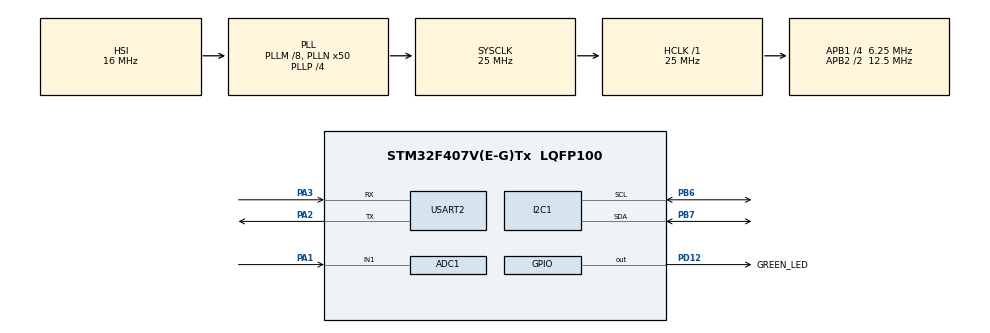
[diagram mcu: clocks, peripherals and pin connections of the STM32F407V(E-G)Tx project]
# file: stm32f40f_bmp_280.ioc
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ADC1.Channel-0\#ChannelRegularConversion=ADC_CHANNEL_1
ADC1.NbrOfConversionFlag=1
ADC1.Rank-0\#ChannelRegularConversion=1
ADC1.SamplingTime-0\#ChannelRegularConversion=ADC_SAMPLETIME_3CYCLES
ADC1.master=1
Mcu.Family=STM32F4
Mcu.Name=STM32F407V(E-G)Tx
Mcu.Package=LQFP100
NVIC.PriorityGroup=NVIC_PRIORITYGROUP_0
NVIC.USART2_IRQn=true\:0\:0\:false\:false\:true\:true\:true\:true
PA1.Signal=ADCx_IN1
PA2.Mode=Asynchronous
PA2.Signal=USART2_TX
PA3.Mode=Asynchronous
PA3.Signal=USART2_RX
PB6.Mode=I2C
PB6.Signal=I2C1_SCL
PB7.Mode=I2C
PB7.Signal=I2C1_SDA
PD12.GPIO_Label=GREEN_LED
PD12.Signal=GPIO_Output
ProjectManager.HeapSize=0x200
ProjectManager.StackSize=0x400
ProjectManager.TargetToolchain=STM32CubeIDE
RCC.48MHZClocksFreq_Value=14285714.285714285
RCC.AHBFreq_Value=25000000
RCC.APB1CLKDivider=RCC_HCLK_DIV4
RCC.APB1Freq_Value=6250000
RCC.APB1TimFreq_Value=12500000
RCC.APB2CLKDivider=RCC_HCLK_DIV2
RCC.APB2Freq_Value=12500000
RCC.APB2TimFreq_Value=25000000
RCC.CortexFreq_Value=25000000
RCC.HCLKFreq_Value=25000000
RCC.HSE_VALUE=8000000
RCC.HSI_VALUE=16000000
RCC.LSE_VALUE=32768
RCC.PLLM=8
RCC.PLLN=50
RCC.PLLP=RCC_PLLP_DIV4
RCC.PLLQ=7
RCC.SYSCLKFreq_VALUE=25000000
RCC.SYSCLKSource=RCC_SYSCLKSOURCE_PLLCLK
RCC.VCOOutputFreq_Value=100000000
SH.ADCx_IN1.0=ADC1_IN1,IN1
USART2.VirtualMode=VM_ASYNC
board=STM32F407G-DISC1

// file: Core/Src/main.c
/* USER CODE BEGIN Header */
/**
  ******************************************************************************
  * @file           : main.c
  * @brief          : Main program body
  ******************************************************************************
  * @attention
  *
  * Copyright (c) 2026 STMicroelectronics.
  * All rights reserved.
  *
  * This software is licensed under terms that can be found in the LICENSE file
  * in the root directory of this software component.
  * If no LICENSE file comes with this software, it is provided AS-IS.
  *
  ******************************************************************************
  */
/* USER CODE END Header */
#include "main.h"
#include "adc.h"
#include "i2c.h"
#include "usart.h"
#include "gpio.h"
#include "bmp280.h"

/* USER CODE BEGIN Includes */

#include<stdio.h>
#include<string.h>
#include<stdbool.h>

/* USER CODE END Includes */

/* USER CODE BEGIN PD */

typedef enum
{
	SENSOR_INIT,
	SENSOR_MEASURE,
}Status_t;

/* USER CODE END PD */

void SystemClock_Config(void);

/* USER CODE BEGIN 0 */

void uart_send(char* text)
{
	HAL_UART_Transmit(&huart2, (uint8_t* )text, strlen(text), HAL_MAX_DELAY);
}

void intToCharFix(int32_t value, char *response, uint8_t buffer_size)
{
	char merge[15];

	char sign = (value < 0) ? '-' : ' ';

	uint32_t u_value = (value < 0) ? -value : value;

	uint32_t u_value_int = (u_value / 100);
	uint32_t u_value_dec = (u_value % 100);

	snprintf(merge, sizeof(merge), "%c%lu.%02lu", sign, u_value_int, u_value_dec);

	snprintf(response, buffer_size, "%s", merge);
}

void uintToCharFix(uint32_t value, char *response, uint8_t buffer_size)
{
	char convert[15];

	uint32_t u_value_int = (value / 100);
	uint32_t u_value_dec = (value % 100);

	snprintf(convert, sizeof(convert), "%lu.%02lu", u_value_int, u_value_dec);

	snprintf(response, buffer_size, "%s", convert);
}

/* USER CODE END 0 */

int main(void)
{

  /* MCU Configuration--------------------------------------------------------*/

  /* Reset of all peripherals, Initializes the Flash interface and the Systick. */
  HAL_Init();

  /* Configure the system clock */
  SystemClock_Config();

  /* Initialize all configured peripherals */
  MX_GPIO_Init();
  MX_ADC1_Init();
  MX_I2C1_Init();
  MX_USART2_UART_Init();
  /* USER CODE BEGIN 2 */

  char boot_msg[] = "/----BOOT_OK----/\r\n";
  char boot_msg_head[] = "\r\n\r\n/---------------/\r\n";
  uart_send(boot_msg_head);
  uart_send(boot_msg);

  /*
  int32_t temp;
  int32_t temp_f;
  uint32_t press;
  uint32_t press_f;

  BMP280_Init(&BMP280, &hi2c1, 0x76U);

  fastTemp(&BMP280, &temp);
  fastPress(&BMP280, &press);
  fastMeasure(&BMP280, &temp_f, &press_f);

  char temp_char_f[15];

  char press_char_f[10];

  intToCharFix(temp, temp_char, sizeof(temp_char));
  intToCharFix(temp_f, temp_char_f, sizeof(temp_char_f));

  uintToCharFix(press, press_char, sizeof(press_char));
  uintToCharFix(press_f, press_char_f, sizeof(press_char_f));

  char response_s[150];
  char response_f[150];

  snprintf(response_s, sizeof(response_s), "TEMPERATURE:%7sDegC\r\nPRESSURE:%10shPa\r\n", temp_char, press_char);
  snprintf(response_f, sizeof(response_f), "TEMPERATURE_F:%7sDegC\r\nPRESSURE_F:%10shPa\r\n", temp_char_f, press_char_f);

  uart_send(response_s);
  uart_send(response_f);*/

  BMP280_t BMP280 = {0};

  int32_t temp_s;
  uint32_t press_s;

  char temp_char[15];
  char press_char[10];

  Status_t status = SENSOR_INIT;
  BMP280_Init_Status_t init_status;
  BMP280_Measure_Status_t measure_status;

  uint32_t last_time = 0U;

  uint16_t error_code_init = 0x0000;
  uint16_t error_code_measure = 0x0000;

  char response[150];

  uint32_t init_count = 0U;

  uint32_t ok_count = 0U;
  uint32_t error_count = 0U;

  /* USER CODE END 2 */

  /* Infinite loop */
  while (1)
  {

    /* USER CODE BEGIN 3 */

	  if((HAL_GetTick() - last_time) >= 1000U)
	  /*if(1)*/
	  {
		  last_time = HAL_GetTick();

		  if(status == SENSOR_INIT)
		  {
			  init_status = BMP280_Init(&BMP280, &hi2c1, 0x76U);
			  init_count++;

			  if(init_status == INIT_OK)
			  {
				  status = SENSOR_MEASURE;
				  uart_send("--------------------\r\n");
				  uart_send("BMP280_INIT_OK\r\n");
				  error_code_init = 0x00A1;
				  ok_count ++;
			  }
			  else
			  {
				  uint16_t error = ((uint16_t)(init_status) << 8U) | ((uint16_t)(BMP280.Error));

				  if(error_code_init != error)
				  {
					  error_code_init = error;
					  snprintf(response, sizeof(response), "INIT_ERROR_CODE: %X\r\n", error_code_init);
					  uart_send("--------------------\r\n");
					  uart_send(response);
				  }

				  error_count ++;
				  status = SENSOR_INIT;
			  }

			  char try[150];
			  snprintf(try, sizeof(try), "init_count: %lu\r\nok_count: %lu\r\nerror_count: %lu\r\n",init_count, ok_count, error_count);
			  uart_send("--------------------\r\n");
			  uart_send(try);
		  }

		  if(status == SENSOR_MEASURE)
		  {
			  measure_status = fastMeasure(&BMP280, &temp_s, &press_s);

			  if(measure_status == MEASURE_OK)
			  {
				  intToCharFix(temp_s, temp_char, sizeof(temp_char));
				  uintToCharFix(press_s, press_char, sizeof(press_char));
				  snprintf(response, sizeof(response), "TEMPERATURE:%7sDegC\r\nPRESSURE:%10shPa\r\n", temp_char, press_char);
				  uart_send("--------------------\r\n");
				  uart_send(response);
				  error_code_measure = 0x001A;
				  status = SENSOR_MEASURE;
			  }
			  else
			  {
				  uint16_t error = ((uint16_t)(measure_status) << 8U) | ((uint16_t)(BMP280.Error));

				  if(error_code_measure != error)
				  {
					  error_code_measure = error;
					  snprintf(response, sizeof(response), "MEASURE_ERROR_CODE: %X\r\n", error_code_measure);
					  uart_send("--------------------\r\n");
					  uart_send(response);
				  }

				  status = SENSOR_INIT;
			  }
		  }
	  }

  }
  /* USER CODE END 3 */
}

void SystemClock_Config(void)
{
  RCC_OscInitTypeDef RCC_OscInitStruct = {0};
  RCC_ClkInitTypeDef RCC_ClkInitStruct = {0};

  /** Configure the main internal regulator output voltage
  */
  __HAL_RCC_PWR_CLK_ENABLE();
  __HAL_PWR_VOLTAGESCALING_CONFIG(PWR_REGULATOR_VOLTAGE_SCALE1);

  /** Initializes the RCC Oscillators according to the specified parameters
  * in the RCC_OscInitTypeDef structure.
  */
  RCC_OscInitStruct.OscillatorType = RCC_OSCILLATORTYPE_HSI;
  RCC_OscInitStruct.HSIState = RCC_HSI_ON;
  RCC_OscInitStruct.HSICalibrationValue = RCC_HSICALIBRATION_DEFAULT;
  RCC_OscInitStruct.PLL.PLLState = RCC_PLL_ON;
  RCC_OscInitStruct.PLL.PLLSource = RCC_PLLSOURCE_HSI;
  RCC_OscInitStruct.PLL.PLLM = 8;
  RCC_OscInitStruct.PLL.PLLN = 50;
  RCC_OscInitStruct.PLL.PLLP = RCC_PLLP_DIV4;
  RCC_OscInitStruct.PLL.PLLQ = 7;
  if (HAL_RCC_OscConfig(&RCC_OscInitStruct) != HAL_OK)
  {
    Error_Handler();
  }

  /** Initializes the CPU, AHB and APB buses clocks
  */
  RCC_ClkInitStruct.ClockType = RCC_CLOCKTYPE_HCLK|RCC_CLOCKTYPE_SYSCLK
                              |RCC_CLOCKTYPE_PCLK1|RCC_CLOCKTYPE_PCLK2;
  RCC_ClkInitStruct.SYSCLKSource = RCC_SYSCLKSOURCE_PLLCLK;
  RCC_ClkInitStruct.AHBCLKDivider = RCC_SYSCLK_DIV1;
  RCC_ClkInitStruct.APB1CLKDivider = RCC_HCLK_DIV4;
  RCC_ClkInitStruct.APB2CLKDivider = RCC_HCLK_DIV2;

  if (HAL_RCC_ClockConfig(&RCC_ClkInitStruct, FLASH_LATENCY_0) != HAL_OK)
  {
    Error_Handler();
  }
}

void Error_Handler(void)
{
  __disable_irq();
  while (1)
  {
  }
}
